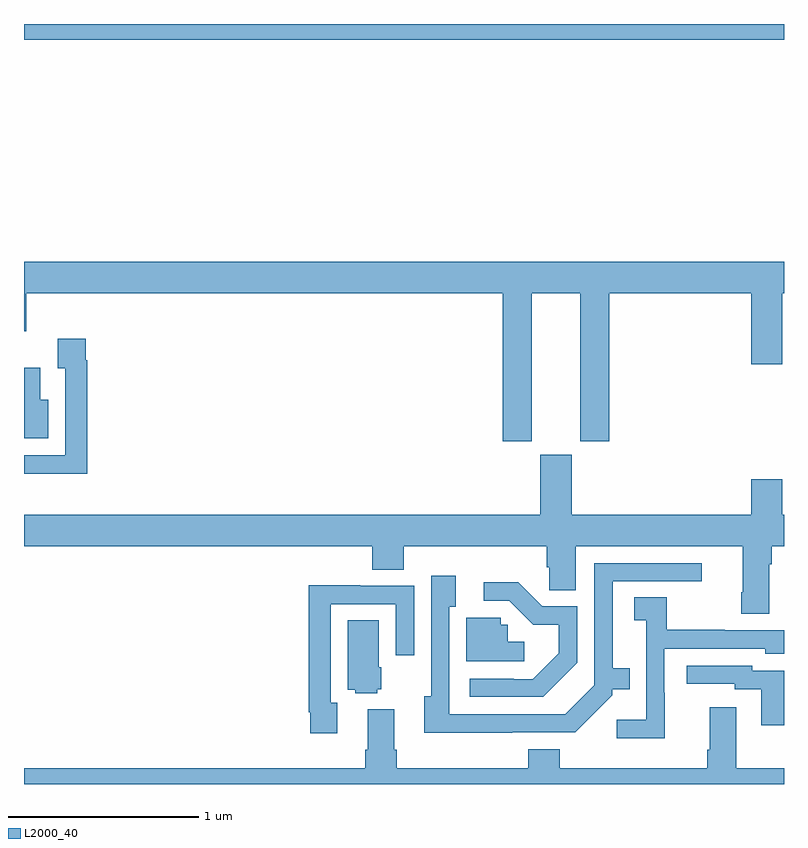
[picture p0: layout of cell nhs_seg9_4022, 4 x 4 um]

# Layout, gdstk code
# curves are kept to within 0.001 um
import gdstk
lib = gdstk.Library(unit=1e-6, precision=1e-09)
def R(c, l, rs):  # rectangles x0, y0, x1, y1
    for r in rs: c.add(gdstk.rectangle(r[:2], r[2:], *l))
def P(c, l, *ps):  # polygons
    for p in ps: c.add(gdstk.Polygon(p, *l))
L2000_40 = (2000, 40)

nhs_seg9_4022 = lib.new_cell('nhs_seg9_4022')
R(nhs_seg9_4022, L2000_40, [(341,1200.416,345,1200.5)])
P(nhs_seg9_4022, L2000_40, [(341,1198.882),(341.012,1198.882),(341.012,1199.084),(343.52,1199.084),(343.52,1198.305),(343.672,1198.305),(343.672,1199.084),(343.928,1199.084),(343.928,1198.305),(344.081,1198.305),(344.081,1199.084),(344.828,1199.084),(344.828,1198.71),(344.992,1198.71),(344.992,1199.084),(345,1199.084),(345,1199.248),(341,1199.248)],
  [(341.333,1198.73),(341.326,1198.73),(341.326,1198.843),(341.177,1198.843),(341.177,1198.687),(341.217,1198.687),(341.217,1198.23),(341,1198.23),(341,1198.134),(341.041,1198.134),(341.041,1198.133),(341.333,1198.133)],
  [(341.128,1198.522),(341.086,1198.522),(341.086,1198.69),(341,1198.69),(341,1198.319),(341.128,1198.319)],
  [(344.923,1197.656),(344.936,1197.656),(344.936,1197.752),(345,1197.752),(345,1197.916),(344.992,1197.916),(344.992,1198.105),(344.828,1198.105),(344.828,1197.916),(343.882,1197.916),(343.882,1198.233),(343.718,1198.233),(343.718,1197.916),(341,1197.916),(341,1197.752),(342.833,1197.752),(342.833,1197.628),(342.998,1197.628),(342.998,1197.752),(343.751,1197.752),(343.751,1197.642),(343.765,1197.642),(343.765,1197.52),(343.903,1197.52),(343.903,1197.752),(344.783,1197.752),(344.783,1197.508),(344.776,1197.508),(344.776,1197.396),(344.923,1197.396)],
  [(343.571,1196.772),(343.902,1196.772),(344.097,1196.967),(344.097,1196.999),(344.189,1196.999),(344.189,1197.109),(344.098,1197.109),(344.098,1197.567),(344.566,1197.567),(344.566,1197.663),(344.001,1197.663),(344.001,1197.021),(343.848,1196.868),(343.239,1196.868),(343.239,1197.434),(343.273,1197.434),(343.273,1197.595),(343.143,1197.595),(343.143,1196.962),(343.106,1196.962),(343.106,1196.771)],
  [(343.911,1197.137),(343.911,1197.435),(343.728,1197.435),(343.6,1197.563),(343.419,1197.563),(343.419,1197.465),(343.554,1197.465),(343.681,1197.338),(343.814,1197.338),(343.814,1197.188),(343.677,1197.051),(343.577,1197.051),(343.577,1197.054),(343.347,1197.054),(343.347,1196.958),(343.732,1196.958)],
  [(342.649,1196.927),(342.615,1196.927),(342.615,1197.447),(342.957,1197.447),(342.957,1197.177),(343.053,1197.177),(343.053,1197.543),(342.769,1197.543),(342.769,1197.547),(342.499,1197.547),(342.499,1196.878),(342.507,1196.878),(342.507,1196.766),(342.649,1196.766)],
  [(344.373,1196.981),(344.37,1196.981),(344.37,1197.213),(344.901,1197.213),(344.901,1197.185),(345,1197.185),(345,1197.309),(344.687,1197.309),(344.687,1197.312),(344.383,1197.312),(344.383,1197.482),(344.211,1197.482),(344.211,1197.361),(344.274,1197.361),(344.274,1196.839),(344.121,1196.839),(344.121,1196.741),(344.373,1196.741)],
  [(343.633,1197.25),(343.545,1197.25),(343.545,1197.339),(343.509,1197.339),(343.509,1197.375),(343.328,1197.375),(343.328,1197.147),(343.633,1197.147)],
  [(342.858,1197),(342.88,1197),(342.88,1197.114),(342.868,1197.114),(342.868,1197.362),(342.704,1197.362),(342.704,1196.996),(342.744,1196.996),(342.744,1196.978),(342.858,1196.978)],
  [(345,1197.096),(344.832,1197.096),(344.832,1197.123),(344.487,1197.123),(344.487,1197.027),(344.742,1197.027),(344.742,1197),(344.879,1197),(344.879,1196.808),(345,1196.808)],
  [(342.809,1196.893),(342.809,1196.68),(342.797,1196.68),(342.797,1196.584),(341,1196.584),(341,1196.5),(345,1196.5),(345,1196.584),(344.749,1196.584),(344.749,1196.905),(344.609,1196.905),(344.609,1196.68),(344.597,1196.68),(344.597,1196.584),(343.82,1196.584),(343.82,1196.683),(343.655,1196.683),(343.655,1196.584),(342.962,1196.584),(342.962,1196.68),(342.949,1196.68),(342.949,1196.893)])

lib.write_gds('nhs_seg9_4022.gds')
